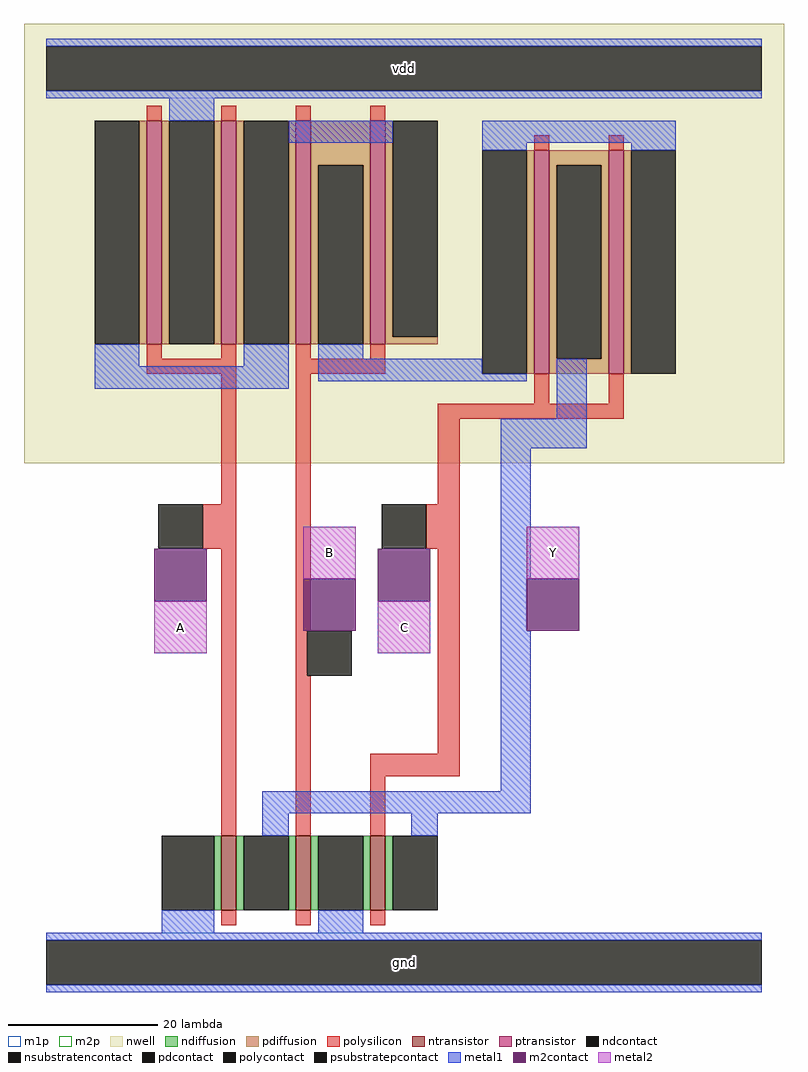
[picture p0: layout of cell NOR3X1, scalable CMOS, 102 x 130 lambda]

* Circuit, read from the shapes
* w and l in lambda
.subckt NOR3X1 A B C Y vdd gnd
M1 Y A gnd gnd nfet w=10 l=2
M2 gnd B Y gnd nfet w=10 l=2
M3 Y C gnd gnd nfet w=10 l=2
M4 vdd A n1 vdd pfet w=30 l=2 m=2
M5 n2 B n1 vdd pfet w=30 l=2 m=2
M6 Y C n2 vdd pfet w=30 l=2 m=2
.ends

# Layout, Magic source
magic
tech scmos
magscale 1 2
<< nwell >>
rect -12 134 192 252
<< ntransistor >>
rect 41 14 45 34
rect 61 14 65 34
rect 81 14 85 34
<< ptransistor >>
rect 21 166 25 226
rect 41 166 45 226
rect 61 166 65 226
rect 81 166 85 226
rect 125 158 129 218
rect 145 158 149 218
<< ndiffusion >>
rect 39 14 41 34
rect 45 14 47 34
rect 59 14 61 34
rect 65 14 67 34
rect 79 14 81 34
rect 85 14 87 34
<< pdiffusion >>
rect 19 166 21 226
rect 25 166 27 226
rect 39 166 41 226
rect 45 166 47 226
rect 59 166 61 226
rect 65 214 81 226
rect 65 166 67 214
rect 79 166 81 214
rect 85 168 87 226
rect 85 166 99 168
rect 123 158 125 218
rect 129 214 145 218
rect 129 162 131 214
rect 143 162 145 214
rect 129 158 145 162
rect 149 158 151 218
<< ndcontact >>
rect 25 14 39 34
rect 47 14 59 34
rect 67 14 79 34
rect 87 14 99 34
<< pdcontact >>
rect 7 166 19 226
rect 27 166 39 226
rect 47 166 59 226
rect 67 166 79 214
rect 87 168 99 226
rect 111 158 123 218
rect 131 162 143 214
rect 151 158 163 218
<< psubstratepcontact >>
rect -6 -6 186 6
<< nsubstratencontact >>
rect -6 234 186 246
<< polysilicon >>
rect 21 226 25 230
rect 41 226 45 230
rect 61 226 65 230
rect 81 226 85 230
rect 125 218 129 222
rect 145 218 149 222
rect 21 162 25 166
rect 41 162 45 166
rect 21 158 45 162
rect 41 123 45 158
rect 36 111 45 123
rect 41 34 45 111
rect 61 162 65 166
rect 81 162 85 166
rect 61 158 85 162
rect 61 89 65 158
rect 125 150 129 158
rect 145 150 149 158
rect 99 146 149 150
rect 99 123 105 146
rect 96 111 105 123
rect 61 77 64 89
rect 61 34 65 77
rect 99 56 105 111
rect 81 50 105 56
rect 81 34 85 50
rect 41 10 45 14
rect 61 10 65 14
rect 81 10 85 14
<< polycontact >>
rect 24 111 36 123
rect 84 111 96 123
rect 64 77 76 89
<< metal1 >>
rect -6 246 186 248
rect -6 232 186 234
rect 27 226 39 232
rect 59 220 87 226
rect 7 160 19 166
rect 47 160 59 166
rect 7 154 59 160
rect 111 220 163 226
rect 111 218 123 220
rect 67 162 79 166
rect 67 158 111 162
rect 151 218 163 220
rect 67 156 123 158
rect 131 146 139 162
rect 116 138 139 146
rect 116 103 124 138
rect 116 89 123 103
rect 116 46 124 89
rect 52 40 124 46
rect 52 34 59 40
rect 92 34 99 40
rect 25 8 39 14
rect 67 8 79 14
rect -6 6 186 8
rect -6 -8 186 -6
<< m2contact >>
rect 23 97 37 111
rect 63 89 77 103
rect 83 97 97 111
rect 123 89 137 103
<< metal2 >>
rect 23 83 37 97
rect 63 103 77 117
rect 83 83 97 97
rect 123 103 137 117
<< m1p >>
rect -6 232 186 248
rect -6 -8 186 8
<< m2p >>
rect 63 103 77 117
rect 123 103 137 117
rect 23 83 37 97
rect 83 83 97 97
<< labels >>
rlabel metal1 -6 232 186 248 0 vdd
port 4 nsew power bidirectional abutment
rlabel metal2 23 83 37 97 0 A
port 0 nsew signal input
rlabel metal2 63 103 77 117 0 B
port 1 nsew signal input
rlabel metal2 83 83 97 97 0 C
port 2 nsew signal input
rlabel metal2 123 103 137 117 0 Y
port 3 nsew signal output
rlabel metal1 -6 -8 186 8 0 gnd
port 5 nsew ground bidirectional abutment
<< properties >>
string FIXED_BBOX 0 0 180 240
string LEFclass CORE
string LEFsite core
string LEFsymmetry X Y
<< end >>
